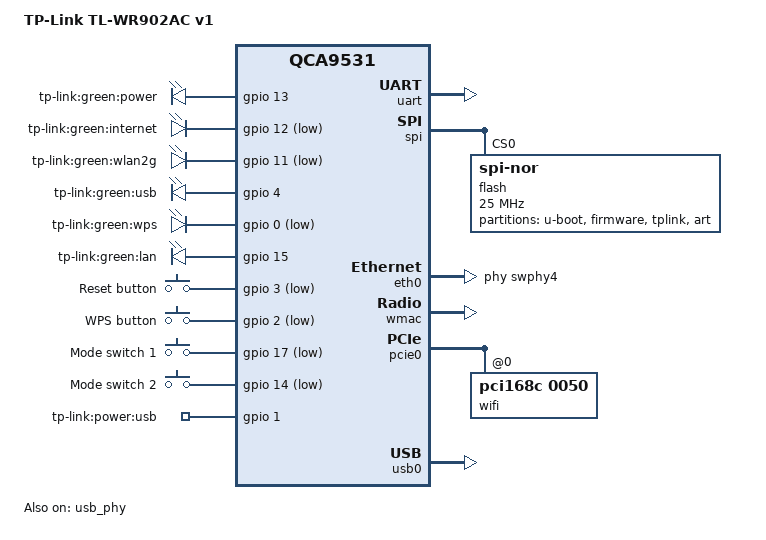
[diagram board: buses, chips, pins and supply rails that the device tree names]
// SPDX-License-Identifier: GPL-2.0-or-later OR MIT
/dts-v1/;

#include <dt-bindings/gpio/gpio.h>
#include <dt-bindings/input/input.h>

#include "qca953x.dtsi"

/ {
	compatible = "tplink,tl-wr902ac-v1", "qca,qca9531";
	model = "TP-Link TL-WR902AC v1";

	aliases {
		led-boot = &led_power;
		led-failsafe = &led_power;
		led-running = &led_power;
		led-upgrade = &led_power;
		label-mac-device = &wmac;
	};

	leds {
		compatible = "gpio-leds";

		led_power: power {
			label = "tp-link:green:power";
			gpios = <&gpio 13 GPIO_ACTIVE_HIGH>;
			default-state = "on";
		};

		internet {
			label = "tp-link:green:internet";
			gpios = <&gpio 12 GPIO_ACTIVE_LOW>;
		};

		wlan2g {
			label = "tp-link:green:wlan2g";
			gpios = <&gpio 11 GPIO_ACTIVE_LOW>;
			linux,default-trigger = "phy0tpt";
		};

		usb {
			label = "tp-link:green:usb";
			gpios = <&gpio 4 GPIO_ACTIVE_HIGH>;
			trigger-sources = <&hub_port0>;
			linux,default-trigger = "usbport";
		};

		wps {
			label = "tp-link:green:wps";
			gpios = <&gpio 0 GPIO_ACTIVE_LOW>;
		};

		lan {
			label = "tp-link:green:lan";
			gpios = <&gpio 15 GPIO_ACTIVE_HIGH>;
		};
	};

	keys {
		compatible = "gpio-keys";

		reset {
			label = "Reset button";
			linux,code = <KEY_RESTART>;
			gpios = <&gpio 3 GPIO_ACTIVE_LOW>;
		};

		wps {
			label = "WPS button";
			linux,code = <KEY_WPS_BUTTON>;
			gpios = <&gpio 2 GPIO_ACTIVE_LOW>;
		};

		sw1 {
			label = "Mode switch 1";
			linux,input-type = <EV_SW>;
			linux,code = <BTN_0>;
			gpios = <&gpio 17 GPIO_ACTIVE_LOW>;
		};

		sw2 {
			label = "Mode switch 2";
			linux,input-type = <EV_SW>;
			linux,code = <BTN_1>;
			gpios = <&gpio 14 GPIO_ACTIVE_LOW>;
		};
	};

	gpio-export {
		compatible = "gpio-export";

		gpio_usb_power {
			gpio-export,name = "tp-link:power:usb";
			gpio-export,output = <1>;
			gpios = <&gpio 1 GPIO_ACTIVE_HIGH>;
		};
	};
};

&uart {
	status = "okay";
};

&spi {
	status = "okay";

	flash@0 {
		compatible = "jedec,spi-nor";
		reg = <0>;
		spi-max-frequency = <25000000>;

		partitions {
			compatible = "fixed-partitions";
			#address-cells = <1>;
			#size-cells = <1>;

			partition@0 {
				label = "u-boot";
				reg = <0x000000 0x020000>;
				read-only;
			};

			partition@20000 {
				compatible = "tplink,firmware";
				label = "firmware";
				reg = <0x020000 0x730000>;
			};

			tplink: partition@750000 {
				label = "tplink";
				reg = <0x750000 0x0a0000>;
				read-only;
			};

			art: partition@7f0000 {
				label = "art";
				reg = <0x7f0000 0x010000>;
				read-only;
			};
		};
	};
};

&eth0 {
	status = "okay";

	phy-handle = <&swphy4>;

	mtd-mac-address = <&tplink 0x8>;
	mtd-mac-address-increment = <1>;
};

&eth1 {
	compatible = "syscon", "simple-mfd";
};

&wmac {
	status = "okay";

	mtd-cal-data = <&art 0x1000>;
	mtd-mac-address = <&tplink 0x8>;
};

&pcie0 {
	status = "okay";

	wifi@0,0 {
		compatible = "pci168c,0050";
		reg = <0x0000 0 0 0 0>;
	};
};

&usb_phy {
	status = "okay";
};

&usb0 {
	#address-cells = <1>;
	#size-cells = <0>;
	status = "okay";

	hub_port0: port@1 {
		reg = <1>;
		#trigger-source-cells = <0>;
	};
};
